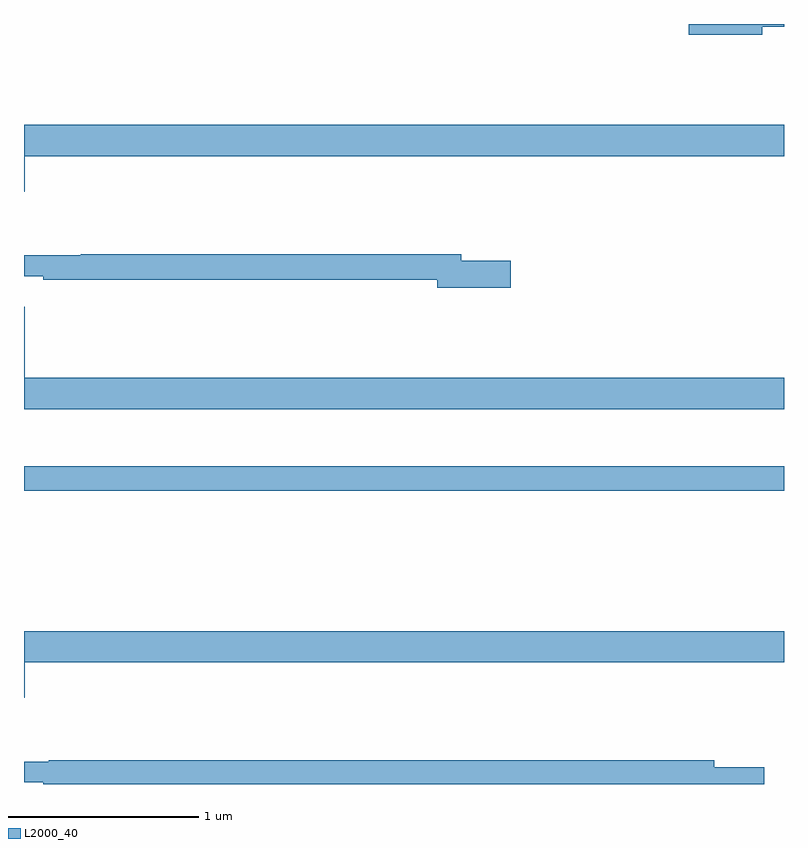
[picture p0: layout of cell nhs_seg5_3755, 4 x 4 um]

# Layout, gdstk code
import gdstk
lib = gdstk.Library(unit=1e-6, precision=1e-09)
def R(c, l, rs):  # rectangles x0, y0, x1, y1
    for r in rs: c.add(gdstk.rectangle(r[:2], r[2:], *l))
def P(c, l, *ps):  # polygons
    for p in ps: c.add(gdstk.Polygon(p, *l))
L2000_40 = (2000, 40)

nhs_seg5_3755 = lib.new_cell('nhs_seg5_3755')
R(nhs_seg5_3755, L2000_40, [(333,844.342,337,844.471)])
P(nhs_seg5_3755, L2000_40, [(336.886,846.784),(337,846.784),(337,846.799),(336.498,846.799),(336.498,846.742),(336.886,846.742)],
  [(333.004,846.104),(337,846.104),(337,846.268),(333,846.268),(333,845.916),(333.004,845.916)],
  [(335.563,845.552),(335.302,845.552),(335.302,845.588),(333.298,845.588),(333.298,845.581),(333,845.581),(333,845.471),(333.1,845.471),(333.1,845.452),(335.174,845.452),(335.174,845.41),(335.563,845.41)],
  [(337,844.936),(333.004,844.936),(333.004,845.311),(333,845.311),(333,844.772),(337,844.772)],
  [(333.004,843.44),(337,843.44),(337,843.604),(333,843.604),(333,843.252),(333.004,843.252)],
  [(336.895,842.888),(336.634,842.888),(336.634,842.924),(333.13,842.924),(333.13,842.917),(333,842.917),(333,842.807),(333.1,842.807),(333.1,842.799),(336.895,842.799)])

lib.write_gds('nhs_seg5_3755.gds')
